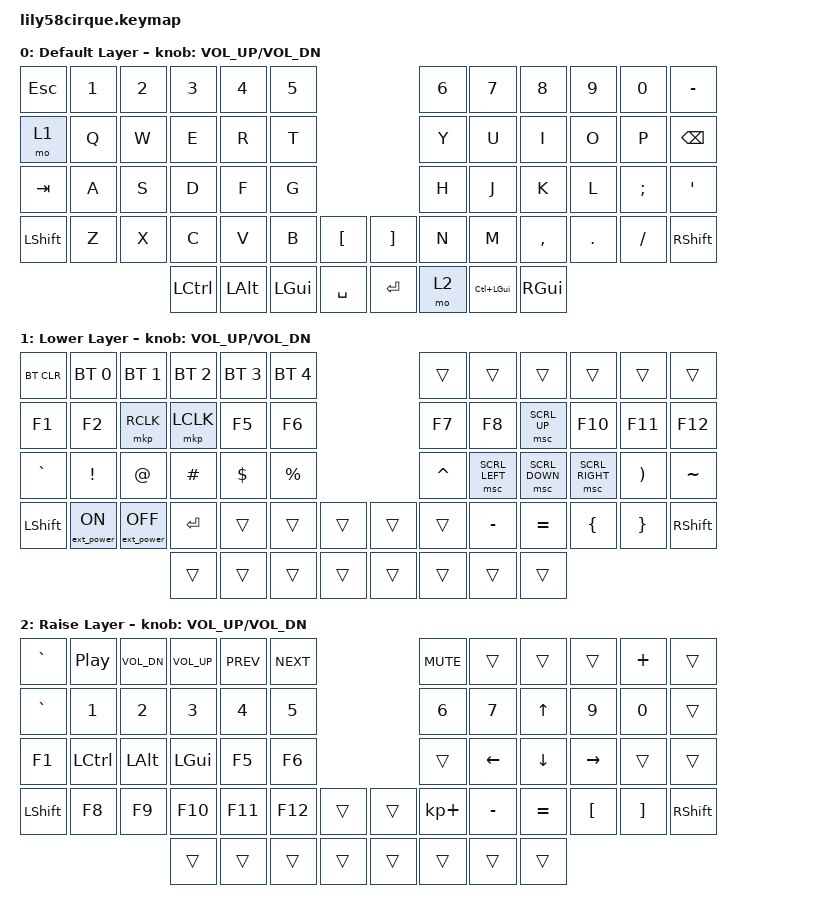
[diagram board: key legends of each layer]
/*
 * Copyright (c) 2020 The ZMK Contributors
 *
 * SPDX-License-Identifier: MIT
 */

#include <behaviors.dtsi>
#include <dt-bindings/zmk/keys.h>
#include <dt-bindings/zmk/bt.h>
#include <dt-bindings/zmk/ext_power.h>
#define ZMK_POINTING_DEFAULT_SCRL_VAL 25
#include <dt-bindings/zmk/mouse.h>

/ {
    keymap {
        compatible = "zmk,keymap";

        default_layer {
            display-name = "Default Layer";
// ------------------------------------------------------------------------------------------------------------
// |  ESC  |  1  |  2  |  3   |  4   |  5   |                   |  6   |  7    |  8    |  9   |   0   |   -   |
// |  MO1  |  Q  |  W  |  E   |  R   |  T   |                   |  Y   |  U    |  I    |  O   |   P   |  BSPC |
// |  TAB  |  A  |  S  |  D   |  F   |  G   |                   |  H   |  J    |  K    |  L   |   ;   |   '   |
// | SHIFT |  Z  |  X  |  C   |  V   |  B   |   "["  |  |  "]"  |  N   |  M    |  ,    |  .   |   /   | SHIFT |
//                     | CTRL | ALT  | GUI  |  SPACE |  | ENTER | MO2  |GUI+CTL| RGUI  |
            bindings = <
&kp ESC   &kp N1 &kp N2 &kp N3    &kp N4   &kp N5                     &kp N6 &kp N7    &kp N8    &kp N9  &kp N0   &kp MINUS
&mo 1     &kp Q  &kp W  &kp E     &kp R    &kp T                      &kp Y  &kp U     &kp I     &kp O   &kp P    &kp BSPC
&kp TAB   &kp A  &kp S  &kp D     &kp F    &kp G                      &kp H  &kp J     &kp K     &kp L   &kp SEMI &kp SQT
&kp LSHFT &kp Z  &kp X  &kp C     &kp V    &kp B  &kp LBKT   &kp RBKT &kp N  &kp M     &kp COMMA &kp DOT &kp FSLH &kp RSHFT
                        &kp LCTRL &kp LALT &kp LGUI &kp SPACE &kp RET &mo 2  &kp LC(LGUI) &kp RGUI
            >;

            sensor-bindings = <&inc_dec_kp C_VOL_UP C_VOL_DN>;
        };

        lower_layer {
            display-name = "Lower Layer";
// ------------------------------------------------------------------------------------------------------------
// | BTCLR | BT1 | BT2 |  BT3 |  BT4 |  BT5 |                   |      |       |       |      |       |       |
// |  F1   |  F2 | RCLK| LCLK |  F5  |  F6  |                   |  F7  |  F8   |SCR_UP |  F10 |  F11  |  F12  |
// |   `   |  !  |  @  |  #   |  $   |  %   |                   |  ^   |SCR_LT |SCR_DN |SCR_RT|   )   |   ~   |
// | SHIFT |EP_ON|EP_OF|  RET |      |      |        |  |       |      |  -    |  =    |  {   |   }   | SHIFT |
//                     |      |      |      |        |  |       |      |       |       |
            bindings = <
&bt BT_CLR &bt BT_SEL 0     &bt BT_SEL 1      &bt BT_SEL 2      &bt BT_SEL 3 &bt BT_SEL 4                 &trans    &trans          &trans          &trans           &trans    &trans
&kp F1     &kp F2           &mkp RCLK         &mkp LCLK         &kp F5       &kp F6                       &kp F7    &kp F8          &msc SCRL_UP    &kp F10          &kp F11   &kp F12
&kp GRAVE  &kp EXCL         &kp AT            &kp HASH          &kp DOLLAR   &kp PRCNT                    &kp CARET &msc SCRL_LEFT  &msc SCRL_DOWN  &msc SCRL_RIGHT  &kp RPAR  &kp TILDE
&kp LSHFT  &ext_power EP_ON &ext_power EP_OFF &kp RET           &trans       &trans    &trans   &trans    &trans    &kp MINUS       &kp EQUAL       &kp LBRC         &kp RBRC  &kp RSHFT
                                              &trans            &trans       &trans    &trans   &trans    &trans    &trans          &trans
            >;

            sensor-bindings = <&inc_dec_kp C_VOL_UP C_VOL_DN>;
        };

        raise_layer {
            display-name = "Raise Layer";
// ------------------------------------------------------------------------------------------------------------
// |   `   | PLAY|VOL_D|VOL_U |K_PREV|K_NEXT|                   | MUTE |       |       |      |   +   |       |
// |   `   |  1  |  2  |  3   |  4   |  5   |                   |  6   |   7   |   ^   |  9   |   0   |       |
// |   F1  | CTRL| ALT | GUI  |  F5  |  F6  |                   |      |   <-  |   v   |  ->  |       |       |
// | SHIFT |  F8 |  F9 |  F10 |  F11 |  F12 |        |  |       |  K+  |   -   |   =   |  [   |   ]   | SHIFT |
//                     |      |      |      |        |  |       |      |       |       |
            bindings = <
&kp GRAVE &kp C_PLAY_PAUSE &kp C_VOL_DN &kp C_VOL_UP &kp K_PREV &kp K_NEXT                    &kp C_MUTE  &trans    &trans    &trans    &kp PLUS  &trans
&kp GRAVE &kp N1           &kp N2       &kp N3       &kp N4     &kp N5                         &kp N6      &kp N7    &kp UP    &kp N9    &kp N0    &trans
&kp F1    &kp LCTRL        &kp LALT     &kp LGUI     &kp F5     &kp F6                         &trans      &kp LEFT  &kp DOWN  &kp RIGHT &trans    &trans
&kp LSHFT &kp F8           &kp F9       &kp F10      &kp F11    &kp F12   &trans   &trans       &kp KP_PLUS &kp MINUS &kp EQUAL &kp LBKT  &kp RBKT  &kp RSHFT
                                        &trans       &trans     &trans    &trans   &trans       &trans      &trans    &trans
            >;

            sensor-bindings = <&inc_dec_kp C_VOL_UP C_VOL_DN>;
        };
    };
};
